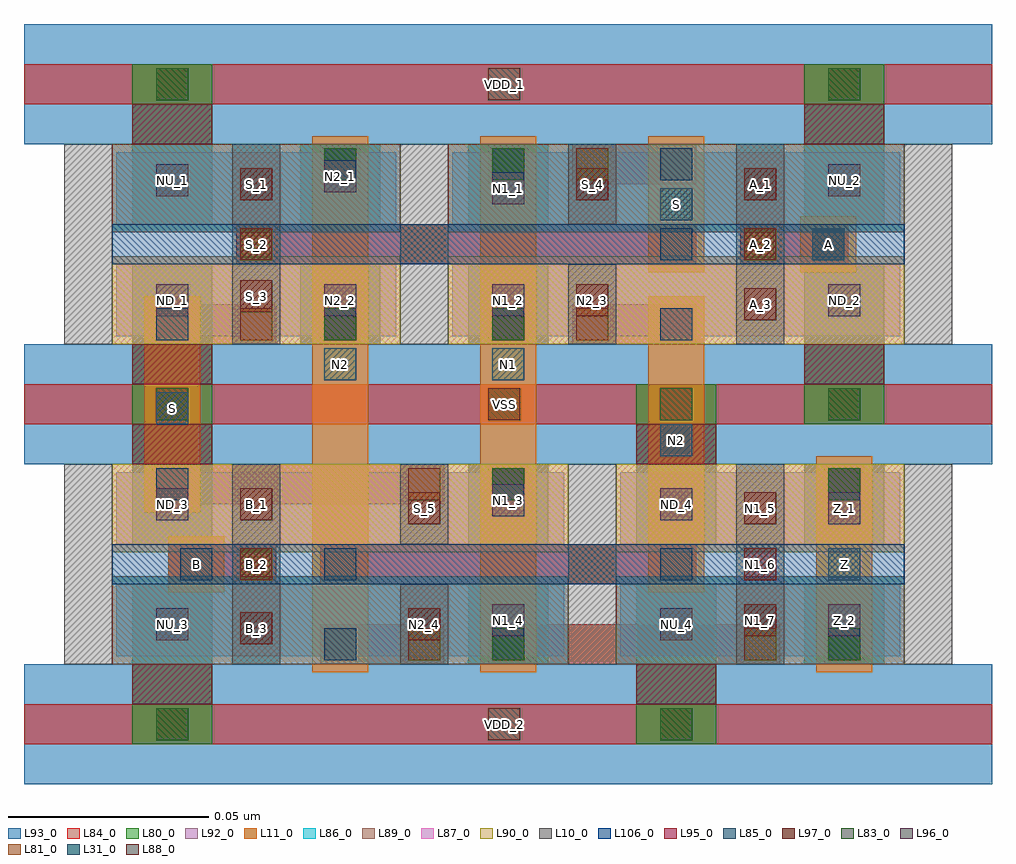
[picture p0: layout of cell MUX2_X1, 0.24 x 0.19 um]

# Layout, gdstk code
import gdstk
lib = gdstk.Library(unit=1e-6, precision=1e-09)
def R(c, l, rs):  # rectangles x0, y0, x1, y1
    for r in rs: c.add(gdstk.rectangle(r[:2], r[2:], *l))
def A(c, l, x, y, w, h, nx, ny, dx, dy):  # array of equal rectangles
    R(c, l, [(x+i*dx, y+j*dy, x+i*dx+w, y+j*dy+h) for i in range(nx) for j in range(ny)])
L10_0 = (10, 0)
L11_0 = (11, 0)
L31_0 = (31, 0)
L80_0 = (80, 0)
L81_0 = (81, 0)
L83_0 = (83, 0)
L84_0 = (84, 0)
L85_0 = (85, 0)
L86_0 = (86, 0)
L87_0 = (87, 0)
L88_0 = (88, 0)
L89_0 = (89, 0)
L90_0 = (90, 0)
L92_0 = (92, 0)
L93_0 = (93, 0)
L95_0 = (95, 0)
L96_0 = (96, 0)
L97_0 = (97, 0)
L106_0 = (106, 0)

mux2_x1 = lib.new_cell('MUX2_X1')
A(mux2_x1, L10_0, 0.099, -0.065, 0.012, 0.05, 3, 1, 0.042, 0)
A(mux2_x1, L10_0, -0.027, 0.015, 0.012, 0.05, 3, 1, 0.042, 0)
R(mux2_x1, L10_0, [(-0.027,-0.065,-0.015,-0.015), (0.015,-0.065,0.027,-0.015), (0.057,-0.065,0.069,-0.045), (0.057,-0.035,0.069,-0.015), (0.099,0.015,0.111,0.035), (0.141,0.015,0.153,0.065), (0.183,0.015,0.195,0.065), (0.099,0.045,0.111,0.065)])
A(mux2_x1, L11_0, 0.035, -0.047, 0.014, 0.034, 4, 1, 0.042, 0)
A(mux2_x1, L11_0, -0.007, -0.027, 0.014, 0.034, 4, 2, 0.042, 0.02)
A(mux2_x1, L11_0, 0.035, 0.033, 0.014, 0.034, 3, 1, 0.042, 0)
R(mux2_x1, L11_0, [(0.035,-0.067,0.049,-0.033), (0.077,-0.067,0.091,-0.033), (0.161,-0.067,0.175,-0.033), (-0.001,-0.047,0.013,-0.033), (0.035,0.013,0.049,0.047), (0.077,0.013,0.091,0.047), (0.157,0.033,0.171,0.047)])
R(mux2_x1, L31_0, [(0.164,-0.044,0.172,-0.036), (0.122,-0.013,0.13,-0.005), (-0.004,-0.005,0.004,0.003), (0.038,0.006,0.046,0.014), (0.08,0.006,0.088,0.014), (0.16,0.036,0.168,0.044), (0.122,0.046,0.13,0.054)])
A(mux2_x1, L80_0, 0.074, -0.065, 0.02, 0.02, 3, 1, 0.042, 0)
A(mux2_x1, L80_0, -0.01, 0.015, 0.02, 0.02, 3, 1, 0.042, 0)
R(mux2_x1, L80_0, [(-0.01,-0.085,0.01,-0.064), (0.116,-0.085,0.136,-0.064), (-0.01,-0.065,0.01,-0.045), (-0.01,-0.035,0.01,-0.015), (-0.01,-0.035,0.01,-0.015), (0.074,-0.035,0.094,-0.015), (0.074,-0.035,0.094,-0.015), (0.116,-0.035,0.136,-0.015), (0.116,-0.035,0.136,-0.015), (0.158,-0.035,0.178,-0.015), (0.158,-0.035,0.178,-0.015), (-0.01,-0.024,0.01,0.005), (0.116,-0.024,0.136,0.005), (-0.01,-0.005,0.01,0.016), (0.158,-0.005,0.178,0.016), (0.158,0.015,0.178,0.035), (-0.01,0.045,0.01,0.065), (-0.01,0.045,0.01,0.065), (0.032,0.045,0.052,0.065), (0.032,0.045,0.052,0.065), (0.074,0.045,0.094,0.065), (0.074,0.045,0.094,0.065), (0.158,0.045,0.178,0.065), (0.158,0.045,0.178,0.065), (-0.01,0.056,0.01,0.085), (0.158,0.056,0.178,0.085)])
R(mux2_x1, L81_0, [(0.059,-0.064,0.067,-0.056), (0.143,-0.064,0.151,-0.056), (0.017,-0.044,0.025,-0.036), (0.059,-0.024,0.067,-0.016), (0.017,0.016,0.025,0.024), (0.101,0.016,0.109,0.024), (0.017,0.036,0.025,0.044), (0.143,0.036,0.151,0.044), (0.101,0.056,0.109,0.064)])
A(mux2_x1, L83_0, 0.08, -0.064, 0.008, 0.008, 1, 4, 0, 0.04)
R(mux2_x1, L83_0, [(-0.004,-0.084,0.004,-0.076), (0.122,-0.084,0.13,-0.076), (0.164,-0.064,0.172,-0.056), (0.164,-0.024,0.172,-0.016), (-0.004,-0.004,0.004,0.004), (-0.004,-0.004,0.004,0.004), (0.122,-0.004,0.13,0.004), (0.164,-0.004,0.172,0.004), (0.038,0.016,0.046,0.024), (0.038,0.056,0.046,0.064), (-0.004,0.076,0.004,0.084), (0.164,0.076,0.172,0.084)])
A(mux2_x1, L84_0, -0.037, -0.085, 0.242, 0.01, 1, 3, 0, 0.08)
A(mux2_x1, L84_0, 0.079, -0.065, 0.031, 0.01, 3, 1, 0.021, 0)
A(mux2_x1, L84_0, 0.037, -0.045, 0.031, 0.01, 4, 1, 0.021, 0)
A(mux2_x1, L84_0, -0.005, -0.025, 0.031, 0.01, 3, 1, 0.021, 0)
A(mux2_x1, L84_0, 0.079, -0.025, 0.01, 0.01, 1, 3, 0, 0.04)
A(mux2_x1, L84_0, 0.016, 0.035, 0.031, 0.01, 5, 1, 0.021, 0)
R(mux2_x1, L84_0, [(0.037,-0.065,0.068,-0.055), (0.163,-0.065,0.173,-0.055), (-0.001,-0.045,0.026,-0.035), (0.163,-0.025,0.173,-0.015), (-0.005,0.015,0.026,0.025), (0.037,0.015,0.047,0.025), (0.1,0.015,0.131,0.025), (0.142,0.035,0.169,0.045), (0.037,0.055,0.047,0.065), (0.1,0.055,0.131,0.065)])
A(mux2_x1, L85_0, -0.004, -0.024, 0.008, 0.008, 3, 1, 0.084, 0)
A(mux2_x1, L85_0, -0.004, 0.016, 0.008, 0.008, 4, 1, 0.042, 0)
A(mux2_x1, L85_0, 0.038, 0.056, 0.008, 0.008, 3, 1, 0.042, 0)
R(mux2_x1, L85_0, [(0.038,-0.064,0.046,-0.056), (0.08,-0.064,0.088,-0.056), (0.164,-0.064,0.172,-0.056), (0.002,-0.044,0.01,-0.036), (0.038,-0.044,0.046,-0.036), (0.122,-0.044,0.13,-0.036), (0.122,0.036,0.13,0.044), (0.16,0.036,0.168,0.044)])
R(mux2_x1, L86_0, [(-0.015,-0.065,0.099,-0.043), (0.111,-0.065,0.183,-0.043), (-0.015,0.043,0.057,0.065), (0.069,0.043,0.183,0.065)])
R(mux2_x1, L87_0, [(-0.015,-0.037,0.099,-0.015), (0.111,-0.037,0.183,-0.015), (-0.015,0.015,0.057,0.037), (0.069,0.015,0.183,0.037)])
A(mux2_x1, L88_0, 0.079, -0.084, 0.008, 0.008, 1, 3, 0, 0.08)
R(mux2_x1, L89_0, [(-0.015,-0.065,0.099,-0.043), (0.111,-0.065,0.183,-0.043), (-0.015,0.043,0.057,0.065), (0.069,0.043,0.183,0.065)])
R(mux2_x1, L90_0, [(-0.015,-0.037,0.099,-0.015), (0.111,-0.037,0.183,-0.015), (-0.015,0.015,0.057,0.037), (0.069,0.015,0.183,0.037)])
R(mux2_x1, L92_0, [(-0.014,-0.063,0.098,-0.045), (0.112,-0.063,0.182,-0.045), (-0.014,-0.035,0.098,-0.017), (0.112,-0.035,0.182,-0.017), (-0.014,0.017,0.056,0.035), (0.07,0.017,0.182,0.035), (-0.014,0.045,0.056,0.063), (0.07,0.045,0.182,0.063)])
A(mux2_x1, L93_0, -0.037, -0.095, 0.242, 0.03, 1, 3, 0, 0.08)
R(mux2_x1, L95_0, [(-0.01,-0.075,0.01,-0.065), (0.116,-0.075,0.136,-0.065), (-0.01,-0.015,0.01,-0.005), (0.116,-0.015,0.136,-0.005), (-0.01,0.005,0.01,0.015), (0.158,0.005,0.178,0.015), (-0.01,0.065,0.01,0.075), (0.158,0.065,0.178,0.075)])
A(mux2_x1, L96_0, -0.004, 0.022, 0.008, 0.008, 3, 1, 0.042, 0)
R(mux2_x1, L96_0, [(-0.004,-0.059,0.004,-0.051), (0.122,-0.059,0.13,-0.051), (0.08,-0.058,0.088,-0.05), (0.164,-0.058,0.172,-0.05), (0.164,-0.03,0.172,-0.022), (-0.004,-0.029,0.004,-0.021), (0.122,-0.029,0.13,-0.021), (0.08,-0.028,0.088,-0.02), (0.164,0.022,0.172,0.03), (0.08,0.05,0.088,0.058), (-0.004,0.052,0.004,0.06), (0.164,0.052,0.172,0.06), (0.038,0.053,0.046,0.061)])
A(mux2_x1, L97_0, 0.143, -0.058, 0.008, 0.008, 1, 3, 0, 0.014)
A(mux2_x1, L97_0, 0.143, 0.021, 0.008, 0.008, 1, 3, 0, 0.015)
R(mux2_x1, L97_0, [(0.017,-0.06,0.025,-0.052), (0.059,-0.059,0.067,-0.051), (0.017,-0.044,0.025,-0.036), (0.017,-0.044,0.025,-0.036), (0.059,-0.03,0.067,-0.022), (0.017,-0.029,0.025,-0.021), (0.101,0.022,0.109,0.03), (0.017,0.023,0.025,0.031), (0.017,0.036,0.025,0.044), (0.017,0.051,0.025,0.059), (0.101,0.051,0.109,0.059)])
R(mux2_x1, L106_0, [(-0.015,-0.045,0.183,-0.035), (-0.015,0.035,0.183,0.045)])
mux2_x1.add(gdstk.Label('N2_2', (0.042,0.026), layer=96, texttype=0))
mux2_x1.add(gdstk.Label('N2_1', (0.042,0.057), layer=96, texttype=0))
mux2_x1.add(gdstk.Label('N1_4', (0.084,-0.054), layer=96, texttype=0))
mux2_x1.add(gdstk.Label('N1_3', (0.084,-0.024), layer=96, texttype=0))
mux2_x1.add(gdstk.Label('N1_2', (0.084,0.026), layer=96, texttype=0))
mux2_x1.add(gdstk.Label('N1_1', (0.084,0.054), layer=96, texttype=0))
mux2_x1.add(gdstk.Label('Z_2', (0.168,-0.054), layer=96, texttype=0))
mux2_x1.add(gdstk.Label('Z_1', (0.168,-0.026), layer=96, texttype=0))
mux2_x1.add(gdstk.Label('ND_4', (0.126,-0.025), layer=96, texttype=0))
mux2_x1.add(gdstk.Label('ND_3', (0,-0.025), layer=96, texttype=0))
mux2_x1.add(gdstk.Label('ND_2', (0.168,0.026), layer=96, texttype=0))
mux2_x1.add(gdstk.Label('ND_1', (0,0.026), layer=96, texttype=0))
mux2_x1.add(gdstk.Label('NU_3', (0,-0.055), layer=96, texttype=0))
mux2_x1.add(gdstk.Label('NU_4', (0.126,-0.055), layer=96, texttype=0))
mux2_x1.add(gdstk.Label('NU_2', (0.168,0.056), layer=96, texttype=0))
mux2_x1.add(gdstk.Label('NU_1', (0,0.056), layer=96, texttype=0))
mux2_x1.add(gdstk.Label('VDD_2', (0.083,-0.08), layer=88, texttype=0))
mux2_x1.add(gdstk.Label('VSS', (0.083,0), layer=88, texttype=0))
mux2_x1.add(gdstk.Label('VDD_1', (0.083,0.08), layer=88, texttype=0))
mux2_x1.add(gdstk.Label('B', (0.006,-0.04), layer=31, texttype=0))
mux2_x1.add(gdstk.Label('A', (0.164,0.04), layer=31, texttype=0))
mux2_x1.add(gdstk.Label('N2', (0.126,-0.009), layer=31, texttype=0))
mux2_x1.add(gdstk.Label('N2', (0.042,0.01), layer=31, texttype=0))
mux2_x1.add(gdstk.Label('S', (0.126,0.05), layer=31, texttype=0))
mux2_x1.add(gdstk.Label('S', (0,-0.001), layer=31, texttype=0))
mux2_x1.add(gdstk.Label('N1', (0.084,0.01), layer=31, texttype=0))
mux2_x1.add(gdstk.Label('Z', (0.168,-0.04), layer=31, texttype=0))
mux2_x1.add(gdstk.Label('B_3', (0.021,-0.056), layer=97, texttype=0))
mux2_x1.add(gdstk.Label('B_2', (0.021,-0.04), layer=97, texttype=0))
mux2_x1.add(gdstk.Label('B_1', (0.021,-0.025), layer=97, texttype=0))
mux2_x1.add(gdstk.Label('A_3', (0.147,0.025), layer=97, texttype=0))
mux2_x1.add(gdstk.Label('A_2', (0.147,0.04), layer=97, texttype=0))
mux2_x1.add(gdstk.Label('A_1', (0.147,0.055), layer=97, texttype=0))
mux2_x1.add(gdstk.Label('N2_4', (0.063,-0.055), layer=97, texttype=0))
mux2_x1.add(gdstk.Label('N2_3', (0.105,0.026), layer=97, texttype=0))
mux2_x1.add(gdstk.Label('S_5', (0.063,-0.026), layer=97, texttype=0))
mux2_x1.add(gdstk.Label('S_4', (0.105,0.055), layer=97, texttype=0))
mux2_x1.add(gdstk.Label('S_3', (0.021,0.027), layer=97, texttype=0))
mux2_x1.add(gdstk.Label('S_2', (0.021,0.04), layer=97, texttype=0))
mux2_x1.add(gdstk.Label('S_1', (0.021,0.055), layer=97, texttype=0))
mux2_x1.add(gdstk.Label('N1_7', (0.147,-0.054), layer=97, texttype=0))
mux2_x1.add(gdstk.Label('N1_6', (0.147,-0.04), layer=97, texttype=0))
mux2_x1.add(gdstk.Label('N1_5', (0.147,-0.026), layer=97, texttype=0))

lib.write_gds('MUX2_X1.gds')
